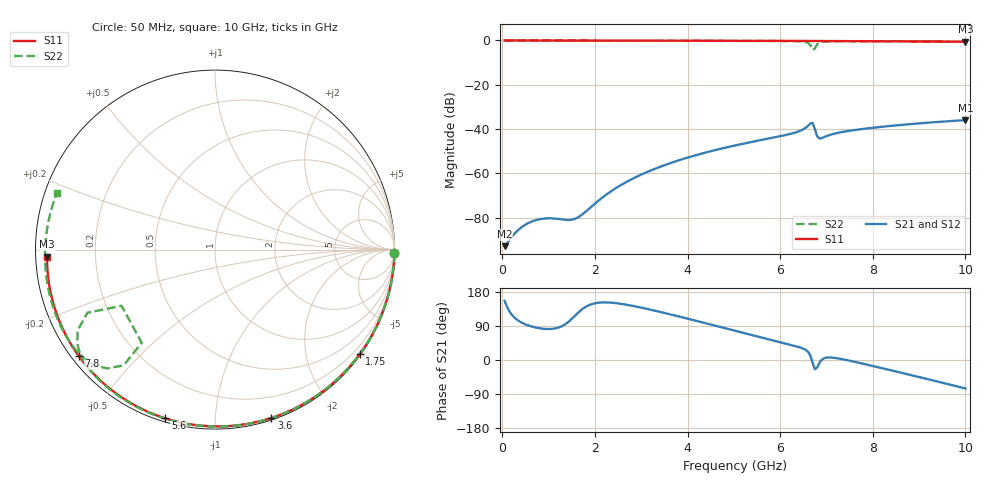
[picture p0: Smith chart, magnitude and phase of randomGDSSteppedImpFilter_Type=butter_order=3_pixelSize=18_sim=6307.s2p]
! freq	dB(S11)	phase(S11)	dB(S12)	phase(S12)
!  dB(S21)	phase(S21)	dB(S22)	phase(S22)
!S-par simulation data
#  GHz  S  DB  R 50
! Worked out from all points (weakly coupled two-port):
!   200 points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, 50 MHz to 10 GHz, reference 50 ohm
!   highest |S21| = -36.00 dB at 10 GHz (marker M1); lowest = -92.9 dB at 50 MHz (marker M2)
!   lowest |S11| = -0.6 dB at 10 GHz (marker M3), VSWR 30.52, Z = 1.64 - j1.04 ohm
!   |S11| at or under -10 dB: nowhere
!   |S22| runs from -4.3 to 0.0 dB; largest |S21 - S12| = 0
!   S11 on the Smith chart (normalised r, x): 50 MHz: open; 1.75 GHz: 0.03, -3.09; 3.6 GHz: 0.02, -1.39; 5.6 GHz: 0.02, -0.75; 7.8 GHz: 0.02, -0.34; 10 GHz: 0.03, -0.02
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0.05  -0.00 -1.0  -92.86 156.0  -92.86 156.0  -0.00 -1.2
0.8  -0.02 -16.6  -80.73 83.8  -80.73 83.8  -0.02 -19.2
1.6  -0.04 -32.9  -80.24 120.3  -80.24 120.3  -0.05 -37.8
1.75  -0.05 -35.9  -78.17 136.1  -78.17 136.1  -0.05 -41.3
2.5  -0.06 -50.7  -66.06 149.4  -66.06 149.4  -0.07 -58.1
3.4  -0.09 -67.8  -57.10 127.2  -57.10 127.2  -0.10 -77.4
3.6  -0.10 -71.4  -55.58 121.3  -55.58 121.3  -0.11 -81.6
4.3  -0.12 -84.1  -51.10 99.9  -51.10 99.9  -0.13 -95.8
5.05  -0.15 -97.1  -47.30 76.5  -47.30 76.5  -0.17 -110.6
5.6  -0.17 -106.4  -44.91 59.3  -44.91 59.3  -0.20 -121.3
6.25  -0.21 -117.1  -42.02 39.3  -42.02 39.3  -0.28 -135.2
6.55  -0.23 -122.0  -39.44 26.9  -39.44 26.9  -0.67 -146.0
6.65  -0.24 -123.6  -37.54 12.5  -37.54 12.5  -2.01 -153.7
6.7  -0.24 -124.4  -37.25 -6.5  -37.25 -6.5  -4.33 -149.0
6.75  -0.24 -125.2  -39.98 -24.5  -39.98 -24.5  -3.61 -128.2
6.8  -0.25 -126.0  -43.28 -19.6  -43.28 -19.6  -1.70 -128.3
6.85  -0.25 -126.8  -44.27 -6.9  -44.27 -6.9  -0.99 -132.2
7.1  -0.27 -130.8  -42.47 6.6  -42.47 6.6  -0.41 -142.8
7.8  -0.33 -141.9  -39.91 -10.1  -39.91 -10.1  -0.37 -157.9
8.35  -0.38 -150.7  -38.64 -25.9  -38.64 -25.9  -0.42 -168.3
9.2  -0.47 -164.4  -37.10 -50.9  -37.10 -50.9  -0.50 175.7
10  -0.57 -177.6  -36.00 -75.1  -36.00 -75.1  -0.58 160.3
